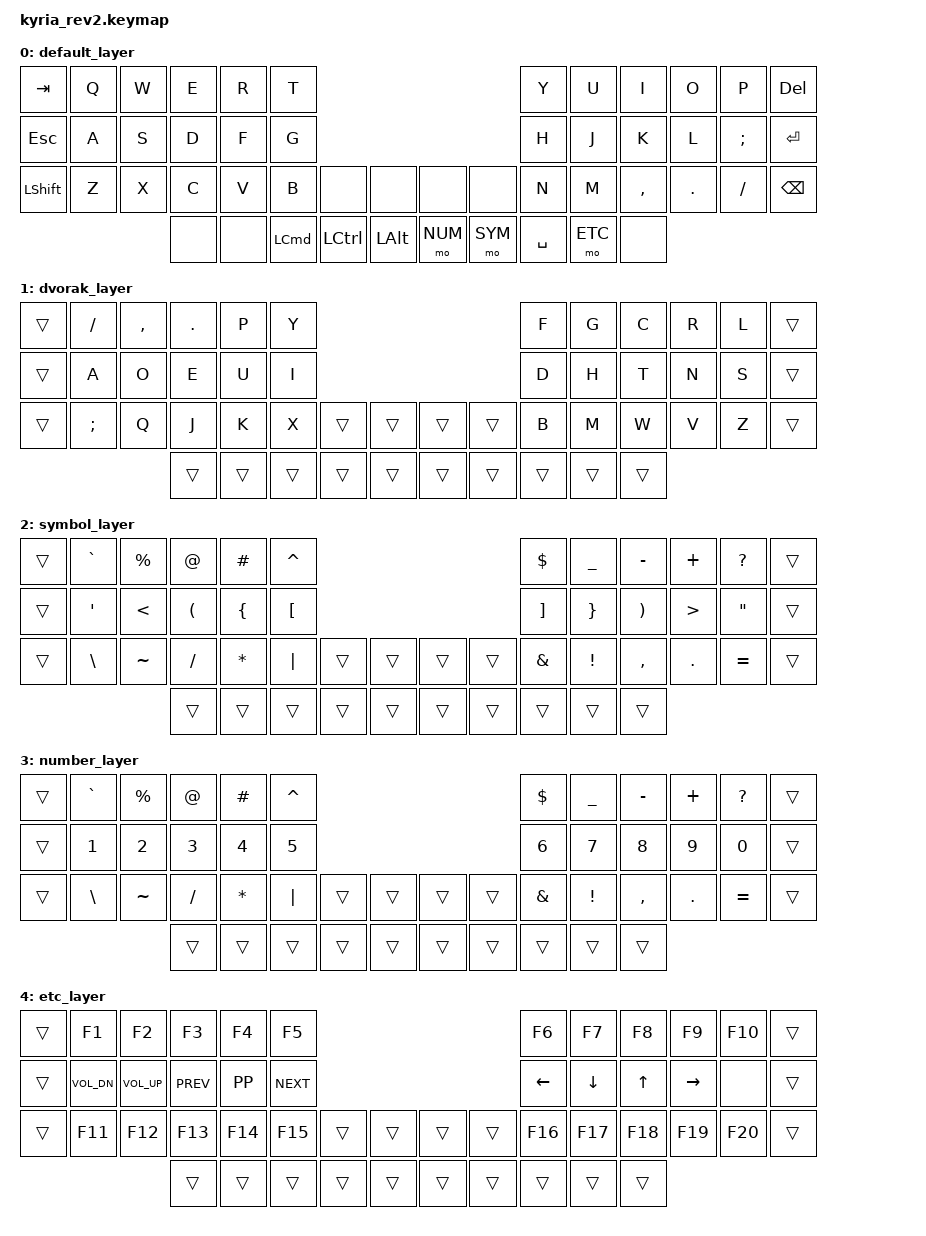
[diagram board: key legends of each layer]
/*
 * Copyright (c) 2020 The ZMK Contributors
 *
 * SPDX-License-Identifier: MIT
 */

#include <behaviors.dtsi>
#include <dt-bindings/zmk/keys.h>

#define QWERTY 0
#define DVORAK 1
#define SYM 2
#define NUM 3
#define ETC 4

#define NONE 0

/ {
	keymap {
		compatible = "zmk,keymap";

		default_layer {
			bindings = <
&kp TAB    &kp Q  &kp W  &kp E  &kp R  &kp T                                              &kp Y      &kp U    &kp I      &kp O    &kp P     &kp DEL
&kp ESC    &kp A  &kp S  &kp D  &kp F  &kp G                                              &kp H      &kp J    &kp K      &kp L    &kp SEMI  &kp RET
&kp LSHFT  &kp Z  &kp X  &kp C  &kp V  &kp B     &none      &none       &none    &none    &kp N      &kp M    &kp COMMA  &kp DOT  &kp FSLH  &kp BSPC
                         &none  &none  &kp LCMD  &kp LCTRL  &kp LALT    &mo NUM  &mo SYM  &kp SPACE  &mo ETC  &none
			>;
		};

		dvorak_layer {
			bindings = <
&trans  &kp FSLH  &kp COMMA  &kp DOT  &kp P   &kp Y                                     &kp F   &kp G   &kp C   &kp R  &kp L  &trans
&trans  &kp A     &kp O      &kp E    &kp U   &kp I                                     &kp D   &kp H   &kp T   &kp N  &kp S  &trans
&trans  &kp SEMI  &kp Q      &kp J    &kp K   &kp X   &trans  &trans    &trans  &trans  &kp B   &kp M   &kp W   &kp V  &kp Z  &trans
                             &trans   &trans  &trans  &trans  &trans    &trans  &trans  &trans  &trans  &trans
			>;
		};

		symbol_layer {
			bindings = <
&trans  &kp GRAVE  &kp PRCNT  &kp AT    &kp HASH  &kp CARET                                     &kp DLLR  &kp UNDER  &kp MINUS  &kp PLUS  &kp QMARK &trans
&trans  &kp SQT    &kp LT     &kp LPAR  &kp LBRC  &kp LBKT                                      &kp RBKT  &kp RBRC   &kp RPAR   &kp GT    &kp DQT   &trans
&trans  &kp BSLH   &kp TILDE  &kp FSLH  &kp STAR  &kp PIPE   &trans  &trans     &trans  &trans  &kp AMPS  &kp EXCL   &kp COMMA  &kp DOT   &kp EQUAL &trans
                              &trans    &trans    &trans     &trans  &trans     &trans  &trans  &trans    &trans     &trans
			>;
		};

		number_layer {
			bindings = <
&trans  &kp GRAVE  &kp PRCNT  &kp AT    &kp HASH  &kp CARET                                     &kp DLLR  &kp UNDER  &kp MINUS  &kp PLUS  &kp QMARK &trans
&trans  &kp N1     &kp N2     &kp N3    &kp N4    &kp N5                                        &kp N6    &kp N7     &kp N8     &kp N9    &kp N0    &trans
&trans  &kp BSLH   &kp TILDE  &kp FSLH  &kp STAR  &kp PIPE   &trans  &trans     &trans  &trans  &kp AMPS  &kp EXCL   &kp COMMA  &kp DOT   &kp EQUAL &trans
                              &trans    &trans    &trans     &trans  &trans     &trans  &trans  &trans    &trans     &trans
			>;
		};

		etc_layer {
			bindings = <
&trans  &kp F1        &kp F2        &kp F3      &kp F4    &kp F5                                         &kp F6    &kp F7    &kp F8   &kp F9     &kp F10  &trans
&trans  &kp K_VOL_DN  &kp K_VOL_UP  &kp K_PREV  &kp K_PP  &kp K_NEXT                                     &kp LEFT  &kp DOWN  &kp UP   &kp RIGHT  &none    &trans
&trans  &kp F11       &kp F12       &kp F13     &kp F14   &kp F15     &trans  &trans     &trans  &trans  &kp F16   &kp F17   &kp F18  &kp F19    &kp F20  &trans
                                    &trans      &trans    &trans      &trans  &trans     &trans  &trans  &trans    &trans    &trans
			>;
		};
	};
};
